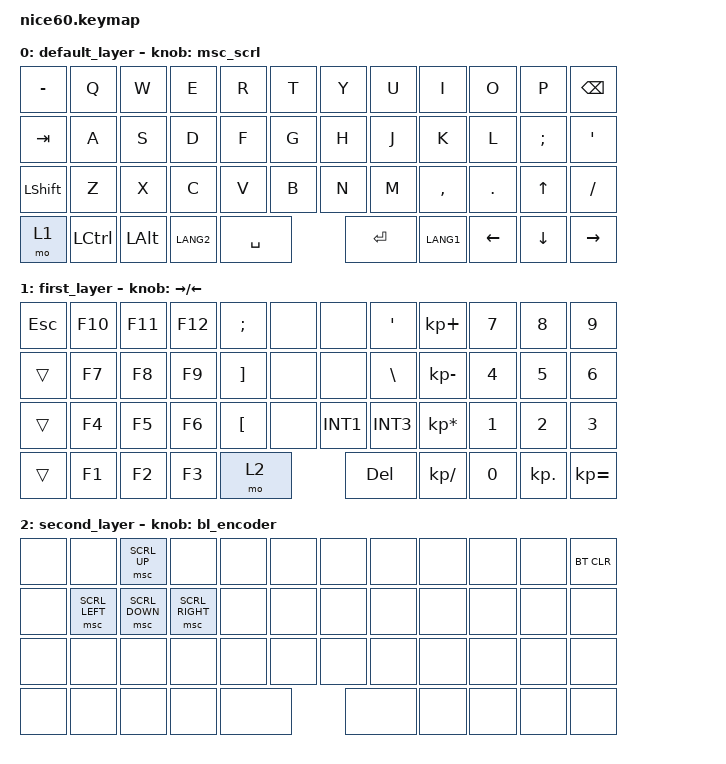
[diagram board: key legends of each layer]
/*
 * Copyright (c) 2021 Nick Winans
 *
 * SPDX-License-Identifier: MIT
 */

#include <behaviors.dtsi>          // Core ZMK behaviors
#include <dt-bindings/zmk/keys.h>  // Standard keycodes
#include <dt-bindings/zmk/rgb.h>   // RGB lighting control
#include <dt-bindings/zmk/bt.h>    // Bluetooth management
#include <dt-bindings/zmk/backlight.h> // Backlight control
#define ZMK_POINTING_DEFAULT_SCRL_VAL 30 // Increase scroll speed for encoder
#include <dt-bindings/zmk/pointing.h> // Mouse emulation

/ {
    macros {
        mac_scrl_up: mac_scrl_up {
            compatible = "zmk,behavior-macro";
            #binding-cells = <0>;
            wait-ms = <0>;
            tap-ms = <30>;
            bindings = <&msc SCRL_UP>;
        };
        mac_scrl_dn: mac_scrl_dn {
            compatible = "zmk,behavior-macro";
            #binding-cells = <0>;
            wait-ms = <0>;
            tap-ms = <30>;
            bindings = <&msc SCRL_DOWN>;
        };
    };

    behaviors {
        bl_encoder: bl_encoder {
            compatible = "zmk,behavior-sensor-rotate";
            #sensor-binding-cells = <0>;
            bindings = <&bl BL_INC>, <&bl BL_DEC>;
        };
        msc_scrl: msc_scrl {
            compatible = "zmk,behavior-sensor-rotate";
            #sensor-binding-cells = <0>; 
            bindings = <&mac_scrl_dn>, <&mac_scrl_up>;
        };
    };

    keymap {
        compatible = "zmk,keymap";

        default_layer {
            bindings = <
    &kp MINUS  &kp Q      &kp W      &kp E      &kp R      &kp T      &kp Y      &kp U      &kp I      &kp O      &kp P      &kp BSPC
    &kp TAB    &kp A      &kp S      &kp D      &kp F      &kp G      &kp H      &kp J      &kp K      &kp L      &kp SEMI   &kp SQT
    &kp LSHIFT &kp Z      &kp X      &kp C      &kp V      &kp B      &kp N      &kp M      &kp COMMA  &kp DOT    &kp UP     &kp FSLH
    &mo 1      &kp LCTRL  &kp LALT   &kp LANG2  &kp SPACE                        &kp RET    &kp LANG1  &kp LEFT   &kp DOWN   &kp RIGHT
            >;
            sensor-bindings = <&msc_scrl>;
        };

        first_layer {
            bindings = <
    &kp ESC   &kp F10  &kp F11  &kp F12  &kp SEMI  &none     &none     &kp SQT   &kp KP_PLUS      &kp N7    &kp N8     &kp N9
    &trans    &kp F7   &kp F8   &kp F9   &kp RBKT  &none     &none     &kp BSLH  &kp KP_MINUS     &kp N4    &kp N5     &kp N6
    &trans    &kp F4   &kp F5   &kp F6   &kp LBKT  &none     &kp INT1  &kp INT3  &kp KP_MULTIPLY  &kp N1    &kp N2     &kp N3
    &trans    &kp F1   &kp F2   &kp F3   &mo 2                         &kp DEL   &kp KP_DIVIDE    &kp N0    &kp KP_DOT &kp KP_EQUAL
            >;
            sensor-bindings = <&inc_dec_kp RIGHT LEFT>;
        };

        second_layer {
            bindings = <
    &none  &none  &msc SCRL_UP    &none            &none  &none  &none  &none  &none  &none  &none  &bt BT_CLR
    &none  &msc SCRL_LEFT &msc SCRL_DOWN  &msc SCRL_RIGHT  &none  &none  &none  &none  &none  &none  &none  &none
    &none  &none  &none           &none            &none  &none  &none  &none  &none  &none  &none  &none
    &none  &none  &none  &none  &none                &none  &none  &none  &none  &none
            >;
            sensor-bindings = <&bl_encoder>;
        };
    };
};
